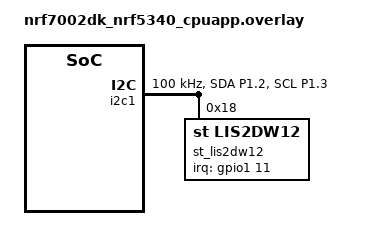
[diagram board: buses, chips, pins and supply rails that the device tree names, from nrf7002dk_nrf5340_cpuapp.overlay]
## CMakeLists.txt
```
#
# Copyright (c) 2020 Nordic Semiconductor
#
# SPDX-License-Identifier: LicenseRef-Nordic-5-Clause
#

cmake_minimum_required(VERSION 3.20.0)

find_package(Zephyr REQUIRED HINTS $ENV{ZEPHYR_BASE})
project(clings)

target_sources(app PRIVATE 
    src/main.c
    )
target_include_directories(app PRIVATE include)
```

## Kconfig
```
# ST Microelectronics LIS2DTW12 3-axis accelerometer driver

# Copyright (c) 2019 STMicroelectronics
# SPDX-License-Identifier: Apache-2.0
menu "Zephyr"
source "Kconfig.zephyr"
endmenu

module = MAIN
module-str = main
source "subsys/logging/Kconfig.template.log_config"

menuconfig LIS2DTW12
	bool "LIS2DTW12 I2C/SPI accelerometer sensor driver"
	depends on I2C || SPI
	select HAS_STMEMSC
	select USE_STDC_LIS2DTW12
	help
	  Enable driver for LIS2DTW12 accelerometer sensor driver

if LIS2DTW12

choice LIS2DTW12_TRIGGER_MODE
	prompt "Trigger mode"
	help
	  Specify the type of triggering to be used by the driver.

config LIS2DTW12_TRIGGER_NONE
	bool "No trigger"

config LIS2DTW12_TRIGGER_GLOBAL_THREAD
	bool "Use global thread"
	depends on GPIO
	select LIS2DTW12_TRIGGER

config LIS2DTW12_TRIGGER_OWN_THREAD
	bool "Use own thread"
	depends on GPIO
	select LIS2DTW12_TRIGGER

endchoice

config LIS2DTW12_TRIGGER
	bool

if LIS2DTW12_TRIGGER

config LIS2DTW12_THREAD_PRIORITY
	int "Thread priority"
	depends on LIS2DTW12_TRIGGER_OWN_THREAD
	default 10
	help
	  Priority of thread used by the driver to handle interrupts.

config LIS2DTW12_THREAD_STACK_SIZE
	int "Thread stack size"
	depends on LIS2DTW12_TRIGGER_OWN_THREAD
	default 1024
	help
	  Stack size of thread used by the driver to handle interrupts.

choice
	prompt "Sensor INT pin number"
	default LIS2DTW12_INT_PIN_1
	help
	  The number of LIS2DTW12 int pin used to generate interrupt to cpu.
	  Supported values are int1 or int2

config LIS2DTW12_INT_PIN_1
	bool "int1"

config LIS2DTW12_INT_PIN_2
	bool "int2"
endchoice

menuconfig LIS2DTW12_PULSE
	bool "Pulse detection"
	help
	  Enable pulse (single/double tap) detection

if LIS2DTW12_PULSE

choice
	prompt "Pulse interrupt source"
	default LIS2DTW12_ONLY_SINGLE

config LIS2DTW12_ONLY_SINGLE
	bool "single"

config LIS2DTW12_SINGLE_DOUBLE
	bool "single/double"

endchoice

config LIS2DTW12_PULSE_THSX
	hex "Pulse X-axis threshold"
	range 0 0x1F
	default 0x0E
	help
	  Threshold to start the pulse-event detection procedure on the X-axis.
	  Threshold values for each axis are unsigned 5-bit corresponding
	  to an 2g acceleration full-scale range.

config LIS2DTW12_PULSE_THSY
	hex "Pulse Y-axis threshold"
	range 0 0x1F
	default 0x0E
	help
	  Threshold to start the pulse-event detection procedure on the Y-axis.
	  Threshold values for each axis are unsigned 5-bit corresponding
	  to an 2g acceleration full-scale range.

config LIS2DTW12_PULSE_THSZ
	hex "Pulse Z-axis threshold"
	range 0 0x1F
	default 0x0E
	help
	  Threshold to start the pulse-event detection procedure on the Z-axis.
	  Threshold values for each axis are unsigned 5-bit corresponding
	  to an 2g acceleration full-scale range.

config LIS2DTW12_PULSE_X
	bool "Enable X axis for pulse"
	default y

config LIS2DTW12_PULSE_Y
	bool "Enable Y axis for pulse"
	default y

config LIS2DTW12_PULSE_Z
	bool "Enable Z axis for pulse"
	default y

config LIS2DTW12_PULSE_SHOCK
	hex "Shock value"
	range 0 0x03
	default 0x00
	help
	  Maximum duration of over-threshold event: this register represents
	  the maximum time of an over-threshold signal detection to be
	  recognized as a tap event. Where 0 equals 4*1/ODR and 1LSB = 8*1/ODR.

config LIS2DTW12_PULSE_LTNCY
	hex "Latency value"
	range 0 0x0F
	default 0x05
	help
	  When double-tap recognition is enabled, this register expresses
	  the maximum time between two successive detected taps to
	  determine a double-tap event. Where 0 equals 16*1/ODR and
	  1LSB = 32*1/ODR.

config LIS2DTW12_PULSE_QUIET
	hex "Quiet value"
	range 0 0x03
	default 0x00
	help
	  Expected quiet time after a tap detection: this register represents
	  the time after the first detected tap in which there must not be
	  any overthreshold event. Where 0 equals 2*1/ODR and 1LSB = 4*1/ODR.

endif # LIS2DTW12_PULSE

endif # LIS2DTW12_TRIGGER

choice
	prompt "Accelerometer Full-scale range setting"
	default LIS2DTW12_ACCEL_RANGE_RUNTIME

config LIS2DTW12_ACCEL_RANGE_RUNTIME
	bool "Set at runtime (Default 2G)"

config LIS2DTW12_ACCEL_RANGE_2G
	bool "2G"

config LIS2DTW12_ACCEL_RANGE_4G
	bool "4G"

config LIS2DTW12_ACCEL_RANGE_8G
	bool "8G"

config LIS2DTW12_ACCEL_RANGE_16G
	bool "16G"
endchoice

choice
	prompt "Accelerometer sampling frequency (ODR)"
	default LIS2DTW12_ODR_RUNTIME

config LIS2DTW12_ODR_RUNTIME
	bool "Set at runtime (Default 100 Hz)"

config LIS2DTW12_ODR_1_6
	bool "1.6 Hz"

config LIS2DTW12_ODR_12_5
	bool "12.5 Hz"

config LIS2DTW12_ODR_25
	bool "25 Hz"

config LIS2DTW12_ODR_50
	bool "50 Hz"

config LIS2DTW12_ODR_100
	bool "100 Hz"

config LIS2DTW12_ODR_200
	bool "200 Hz"

config LIS2DTW12_ODR_400
	bool "400 Hz"

config LIS2DTW12_ODR_800
	bool "800 Hz"

config LIS2DTW12_ODR_1600
	bool "1600 Hz"

endchoice

config LIS2DTW12_POWER_MODE
	int "Sensor Power Modes"
	range 0 4
	default 0
	help
	  Specify the sensor power mode
	  0: Low Power M1
	  1: Low Power M2
	  2: Low Power M3
	  3: Low Power M4
	  4: High Performance

endif # LIS2DTW12
```

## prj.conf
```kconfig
#
# Copyright (c) 2020 Nordic Semiconductor ASA
#
# SPDX-License-Identifier: LicenseRef-Nordic-5-Clause
#
CONFIG_LOG=y
CONFIG_I2C=y
CONFIG_SENSOR=y
CONFIG_LIS2DW12=y
CONFIG_LIS2DW12_TRIGGER_GLOBAL_THREAD=y
CONFIG_CBPRINTF_FP_SUPPORT=y
```

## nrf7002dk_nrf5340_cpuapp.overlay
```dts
// To get started, press Ctrl+Space to bring up the completion menu and view the available nodes.

// You can also use the buttons in the sidebar to perform actions on nodes.
// Actions currently available include:

// * Enabling / disabling the node
// * Adding the bus to a bus
// * Removing the node
// * Connecting ADC channels

// For more help, browse the DeviceTree documentation at https://docs.zephyrproject.org/latest/guides/dts/index.html
// You can also visit the nRF DeviceTree extension documentation at https://nrfconnect.github.io/vscode-nrf-connect/devicetree/nrfdevicetree.html

&pinctrl {
	i2c1_default: i2c1_default {
		group1 {
			psels = <NRF_PSEL(TWIM_SDA, 1, 2)>,
				<NRF_PSEL(TWIM_SCL, 1, 3)>;
			bias-pull-up;
		};
	};

	i2c1_sleep: i2c1_sleep {
		group1 {
			psels = <NRF_PSEL(TWIM_SDA, 1, 2)>,
				<NRF_PSEL(TWIM_SCL, 1, 3)>;
			low-power-enable;
		};
	};
};

&i2c1 {
	compatible = "nordic,nrf-twim";
	status = "okay";
	pinctrl-0 = <&i2c1_default>;
	pinctrl-1 = <&i2c1_sleep>;
	pinctrl-names = "default", "sleep";
	clock-frequency = <100000>;
	st_lis2dw12: lis2dw12@18 {
		compatible = "st,lis2dw12";
		reg = <0x18>;
		irq-gpios = <&gpio1 11 0>;
		odr = < 12 >;
	};
};
```

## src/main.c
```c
/*
 * Copyright (c) 2020 Nordic Semiconductor ASA
 *
 * SPDX-License-Identifier: LicenseRef-Nordic-5-Clause
 */

#include <zephyr/kernel.h>
#include <zephyr/device.h>
#include <zephyr/devicetree.h>
#include <zephyr/init.h>
#include <zephyr/drivers/i2c.h>
#include <zephyr/logging/log.h>
#include <zephyr/drivers/sensor.h>

#define SLEEP_TIME_MS   1000

/* Positions */
#define LIS2DW12_6D_PORT_RIGHT		0x08
#define LIS2DW12_6D_PORT_LEFT		0x04
#define LIS2DW12_6D_FACE_UP			0x02
#define LIS2DW12_6D_FACE_DOWN		0x01
#define LIS2DW12_6D_STANDING		0x20
#define LIS2DW12_6D_UPSIDE_DOWN		0x10

LOG_MODULE_REGISTER(Main, CONFIG_SENSOR_LOG_LEVEL);

static void fetch_and_display(const struct device *sensor)
{
	struct sensor_value temperature;
	int rc = sensor_sample_fetch(sensor); // Dummy read to trigger a sample

	if (rc == 0) {
		rc = sensor_channel_get(sensor, SENSOR_CHAN_AMBIENT_TEMP, &temperature);
		if (rc < 0) {
			LOG_ERR("ERROR: Unable to read temperature:%d", rc);
		} else {
			LOG_INF("%.02f C", sensor_value_to_double(&temperature));
		}
	}	
}

static void trigger_handler(const struct device *dev,
			    const struct sensor_trigger *trig)
{
	struct sensor_value orientation;
	int rc = sensor_sample_fetch(dev);

	if(rc == 0) {
		rc = sensor_channel_get(dev, SENSOR_CHAN_ROTATION, &orientation);
		if (rc < 0) {
			LOG_ERR("ERROR: Unable to read orientation:%d", rc);
		} else {
			uint16_t rotation = sensor_value_to_double(&orientation);

			switch(rotation) {
				case LIS2DW12_6D_PORT_RIGHT:
					LOG_INF("Portrait right");
					break;
				case LIS2DW12_6D_PORT_LEFT:
					LOG_INF("Portrait left");
					break;
				case LIS2DW12_6D_FACE_UP:
					LOG_INF("Standing");
					break;
				case LIS2DW12_6D_FACE_DOWN:
					LOG_INF("Upside down");
					break;
				case LIS2DW12_6D_STANDING:
					LOG_INF("Face down");
					break;
				case LIS2DW12_6D_UPSIDE_DOWN:
					LOG_INF("Face up");
					break;
				default:
					LOG_INF("Unknown - rotation: %d", rotation);
					break;
			}
		}
	}
}

int main(void)
{
	const struct device *const sensor = DEVICE_DT_GET_ANY(st_lis2dw12);
	static struct sensor_trigger sensor_trig;

	if (sensor == NULL) {
		LOG_ERR("No device found");
		return 0;
	}
	if (!device_is_ready(sensor)) {
		LOG_ERR("Device %s is not ready", sensor->name);
		return 0;
	}

#ifdef CONFIG_LIS2DW12_TRIGGER
	int rc = 0;

	if (rc == 0) {
		sensor_trig.type = SENSOR_TRIG_DATA_READY;
		sensor_trig.chan = SENSOR_CHAN_AMBIENT_TEMP;
		rc = sensor_trigger_set(sensor, &sensor_trig, trigger_handler);
	}

	if (rc != 0) {
		LOG_ERR("Trigger set failed: %d", rc);
		return 0;
	}
	LOG_INF("Trigger set got %d", rc);
#endif

	while (true) {
		fetch_and_display(sensor);
		k_msleep(SLEEP_TIME_MS);
	}
}
```

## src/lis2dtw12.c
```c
/* ST Microelectronics LIS2DTW12 3-axis accelerometer driver
 *
 * Copyright (c) 2019 STMicroelectronics
 *
 * SPDX-License-Identifier: Apache-2.0
 *
 * Datasheet:
 * https://www.st.com/resource/en/datasheet/lis2dtw12.pdf
 */

#define DT_DRV_COMPAT st_lis2dtw12
#define I2C_INSTANCE_ID DT_INST(0, DT_DRV_COMPAT)

#include <zephyr/init.h>
#include <zephyr/sys/__assert.h>
#include <zephyr/sys/byteorder.h>
#include <zephyr/logging/log.h>
#include <zephyr/drivers/sensor.h>
#include <zephyr/device.h>
#include <zephyr/devicetree.h>

#if CONFIG_SPI
#include <zephyr/drivers/spi.h>
#elif CONFIG_I2C
#include <zephyr/drivers/i2c.h>
#endif

#include "lis2dtw12.h"

LOG_MODULE_REGISTER(LIS2DTW12, CONFIG_SENSOR_LOG_LEVEL);

/**
 * lis2dtw12_set_range - set full scale range for acc
 * @dev: Pointer to instance of struct device (I2C or SPI)
 * @range: Full scale range (2, 4, 8 and 16 G)
 */
static int lis2dtw12_set_range(const struct device *dev, uint16_t range)
{
	int err;
	struct lis2dtw12_data *lis2dtw12 = dev->data;
	const struct lis2dtw12_device_config *cfg = dev->config;
	uint8_t shift_gain = 0U;
	uint8_t fs = LIS2DTW12_FS_TO_REG(range);

	err = lis2dtw12_full_scale_set(lis2dtw12->ctx, fs);

	if (cfg->pm == LIS2DTW12_CONT_LOW_PWR_12bit) {
		shift_gain = LIS2DTW12_SHFT_GAIN_NOLP1;
	}

	if (!err) {
		/* save internally gain for optimization */
		lis2dtw12->gain =
			LIS2DTW12_FS_TO_GAIN(LIS2DTW12_FS_TO_REG(range),
					    shift_gain);
		LOG_INF("fs %d gain %d", fs, lis2dtw12->gain);
	}

	return err;
}

/**
 * lis2dtw12_set_odr - set new sampling frequency
 * @dev: Pointer to instance of struct device (I2C or SPI)
 * @odr: Output data rate
 */
static int lis2dtw12_set_odr(const struct device *dev, uint16_t odr)
{
	struct lis2dtw12_data *lis2dtw12 = dev->data;
	uint8_t val;

	/* check if power off */
	if (odr == 0U) {
		return lis2dtw12_data_rate_set(lis2dtw12->ctx,
					      LIS2DTW12_XL_ODR_OFF);
	}

	val =  LIS2DTW12_ODR_TO_REG(odr);
	if (val > LIS2DTW12_XL_ODR_1k6Hz) {
		LOG_ERR("ODR too high");
		return -ENOTSUP;
	}

	return lis2dtw12_data_rate_set(lis2dtw12->ctx, val);
}

static inline void lis2dtw12_convert(struct sensor_value *val, int raw_val,
				    float gain)
{
	int64_t dval;

	/* Gain is in ug/LSB */
	/* Convert to m/s^2 */
	dval = ((int64_t)raw_val * gain * SENSOR_G) / 1000000LL;
	val->val1 = dval / 1000000LL;
	val->val2 = dval % 1000000LL;
}

static inline void lis2dtw12_channel_get_acc(const struct device *dev,
					     enum sensor_channel chan,
					     struct sensor_value *val)
{
	int i;
	uint8_t ofs_start, ofs_stop;
	struct lis2dtw12_data *lis2dtw12 = dev->data;
	struct sensor_value *pval = val;

	switch (chan) {
	case SENSOR_CHAN_ACCEL_X:
		ofs_start = ofs_stop = 0U;
		break;
	case SENSOR_CHAN_ACCEL_Y:
		ofs_start = ofs_stop = 1U;
		break;
	case SENSOR_CHAN_ACCEL_Z:
		ofs_start = ofs_stop = 2U;
		break;
	default:
		ofs_start = 0U; ofs_stop = 2U;
		break;
	}

	for (i = ofs_start; i <= ofs_stop ; i++) {
		lis2dtw12_convert(pval++, lis2dtw12->acc[i], lis2dtw12->gain);
	}
}

static inline void lis2dtw12_channel_get_temp(const struct device *dev, struct sensor_value *val)
{
	struct lis2dtw12_data *lis2dtw12 = dev->data;
	float temperature = lis2dtw12_from_lsb_to_celsius(lis2dtw12->temp);
	val->val1 = temperature;
	val->val2 = (temperature - val->val1) * 1000000;
}

static int lis2dtw12_channel_get(const struct device *dev,
				 enum sensor_channel chan,
				 struct sensor_value *val)
{
	switch (chan) {
	case SENSOR_CHAN_ACCEL_X:
	case SENSOR_CHAN_ACCEL_Y:
	case SENSOR_CHAN_ACCEL_Z:
	case SENSOR_CHAN_ACCEL_XYZ:
		lis2dtw12_channel_get_acc(dev, chan, val);
		return 0;
	case SENSOR_CHAN_AMBIENT_TEMP:
		lis2dtw12_channel_get_temp(dev, val);
		return 0;
	default:
		LOG_DBG("Channel not supported");
		break;
	}

	return -ENOTSUP;
}

static int lis2dtw12_config(const struct device *dev, enum sensor_channel chan,
			    enum sensor_attribute attr,
			    const struct sensor_value *val)
{
	switch (attr) {
	case SENSOR_ATTR_FULL_SCALE:
		return lis2dtw12_set_range(dev, sensor_ms2_to_g(val));
	case SENSOR_ATTR_SAMPLING_FREQUENCY:
		return lis2dtw12_set_odr(dev, val->val1);
	default:
		LOG_DBG("Acc attribute not supported");
		break;
	}

	return -ENOTSUP;
}

static int lis2dtw12_attr_set(const struct device *dev,
			      enum sensor_channel chan,
			      enum sensor_attribute attr,
			      const struct sensor_value *val)
{
	switch (chan) {
	case SENSOR_CHAN_ACCEL_X:
	case SENSOR_CHAN_ACCEL_Y:
	case SENSOR_CHAN_ACCEL_Z:
	case SENSOR_CHAN_ACCEL_XYZ:
		return lis2dtw12_config(dev, chan, attr, val);
	default:
		LOG_DBG("Attr not supported on %d channel", chan);
		break;
	}

	return -ENOTSUP;
}

static int lis2dtw12_sample_fetch(const struct device *dev,
				 enum sensor_channel chan)
{
	struct lis2dtw12_data *lis2dtw12 = dev->data;
	const struct lis2dtw12_device_config *cfg = dev->config;
	uint8_t shift;
	int16_t buf[3];

	//uint8_t reg;
	//lis2dtw12_flag_data_ready_get(lis2dtw12->ctx, &reg);
	//if (reg) {
		/* fetch raw data sample */
		if (lis2dtw12_acceleration_raw_get(lis2dtw12->ctx, buf) < 0) {
			LOG_DBG("Failed to fetch raw acc sample");
			return -EIO;
		}

		/* adjust to resolution */
		if (cfg->pm == LIS2DTW12_CONT_LOW_PWR_12bit) {
			shift = LIS2DTW12_SHIFT_PM1;
		} else {
			shift = LIS2DTW12_SHIFT_PMOTHER;
		}

		lis2dtw12->acc[0] = sys_le16_to_cpu(buf[0]) >> shift;
		lis2dtw12->acc[1] = sys_le16_to_cpu(buf[1]) >> shift;
		lis2dtw12->acc[2] = sys_le16_to_cpu(buf[2]) >> shift;

		int16_t temp;
		if (lis2dtw12_temperature_raw_get(lis2dtw12->ctx, &temp) < 0) {
			return -EIO;
		}
		lis2dtw12->temp = temp;
	//}

	return 0;
}

static const struct sensor_driver_api lis2dtw12_driver_api = {
	.attr_set = lis2dtw12_attr_set,
#if CONFIG_LIS2DTW12_TRIGGER
	.trigger_set = lis2dtw12_trigger_set,
#endif /* CONFIG_LIS2DTW12_TRIGGER */
	.sample_fetch = lis2dtw12_sample_fetch,
	.channel_get = lis2dtw12_channel_get,
};

static int lis2dtw12_init_interface(const struct device *dev)
{
	struct lis2dtw12_data *lis2dtw12 = dev->data;
	const struct lis2dtw12_device_config *cfg = dev->config;

	lis2dtw12->bus = device_get_binding(cfg->bus->name);
	if (!lis2dtw12->bus) {
		LOG_DBG("master bus not found: %s", cfg->bus->name);
		return -EINVAL;
	}

#if CONFIG_SPI
	lis2dtw12_spi_init(dev);
#elif CONFIG_I2C
	lis2dtw12_i2c_init(dev);
#else
#error "BUS MACRO NOT DEFINED IN DTS"
#endif

	return 0;
}

static int lis2dtw12_set_power_mode(struct lis2dtw12_data *lis2dtw12,
				    lis2dtw12_mode_t pm)
{
	uint8_t regval = LIS2DTW12_CONT_LOW_PWR_12bit;

	switch (pm) {
	case LIS2DTW12_CONT_LOW_PWR_2:
	case LIS2DTW12_CONT_LOW_PWR_3:
	case LIS2DTW12_CONT_LOW_PWR_4:
	case LIS2DTW12_HIGH_PERFORMANCE:
		regval = pm;
		break;
	default:
		LOG_DBG("Apply default Power Mode");
		break;
	}

	return lis2dtw12_write_reg(lis2dtw12->ctx, LIS2DTW12_CTRL1, &regval, 1);
}

int lis2dtw12_init(const struct device *dev)
{
	struct lis2dtw12_data *lis2dtw12 = dev->data;
	const struct lis2dtw12_device_config *cfg = dev->config;
	uint8_t wai;

	if (lis2dtw12_init_interface(dev)) {
		return -EINVAL;
	}

	/* check chip ID */
	if (lis2dtw12_device_id_get(lis2dtw12->ctx, &wai) < 0) {
		return -EIO;
	}

	if (wai != LIS2DTW12_ID) {
		LOG_ERR("Invalid chip ID");
		return -EINVAL;
	}

	/* reset device */
	if (lis2dtw12_reset_set(lis2dtw12->ctx, PROPERTY_ENABLE) < 0) {
		return -EIO;
	}

	k_busy_wait(100);

	if (lis2dtw12_block_data_update_set(lis2dtw12->ctx,
					   PROPERTY_ENABLE) < 0) {
		return -EIO;
	}

	/* set power mode */
	if (lis2dtw12_set_power_mode(lis2dtw12, CONFIG_LIS2DTW12_POWER_MODE)) {
		return -EIO;
	}

	/* set default odr and full scale for acc */
	if (lis2dtw12_data_rate_set(lis2dtw12->ctx, LIS2DTW12_DEFAULT_ODR) < 0) {
		return -EIO;
	}

	if (lis2dtw12_full_scale_set(lis2dtw12->ctx, LIS2DTW12_ACC_FS) < 0) {
		return -EIO;
	}

	lis2dtw12->gain =
		LIS2DTW12_FS_TO_GAIN(LIS2DTW12_ACC_FS,
				    cfg->pm == LIS2DTW12_CONT_LOW_PWR_12bit ?
				    LIS2DTW12_SHFT_GAIN_NOLP1 : 0);

#ifdef CONFIG_LIS2DTW12_TRIGGER
	if (lis2dtw12_init_interrupt(dev) < 0) {
		LOG_ERR("Failed to initialize interrupts");
		return -EIO;
	}

#ifdef CONFIG_LIS2DTW12_PULSE
	if (lis2dtw12_tap_mode_set(lis2dtw12->ctx, cfg->pulse_trigger) < 0) {
		LOG_ERR("Failed to select pulse trigger mode");
		return -EIO;
	}

	if (lis2dtw12_tap_threshold_x_set(lis2dtw12->ctx,
					 cfg->pulse_ths[0]) < 0) {
		LOG_ERR("Failed to set tap X axis threshold");
		return -EIO;
	}

	if (lis2dtw12_tap_threshold_y_set(lis2dtw12->ctx,
					 cfg->pulse_ths[1]) < 0) {
		LOG_ERR("Failed to set tap Y axis threshold");
		return -EIO;
	}

	if (lis2dtw12_tap_threshold_z_set(lis2dtw12->ctx,
					 cfg->pulse_ths[2]) < 0) {
		LOG_ERR("Failed to set tap Z axis threshold");
		return -EIO;
	}

	if (lis2dtw12_tap_detection_on_x_set(lis2dtw12->ctx,
					    CONFIG_LIS2DTW12_PULSE_X) < 0) {
		LOG_ERR("Failed to set tap detection on X axis");
		return -EIO;
	}

	if (lis2dtw12_tap_detection_on_y_set(lis2dtw12->ctx,
					    CONFIG_LIS2DTW12_PULSE_Y) < 0) {
		LOG_ERR("Failed to set tap detection on Y axis");
		return -EIO;
	}

	if (lis2dtw12_tap_detection_on_z_set(lis2dtw12->ctx,
					    CONFIG_LIS2DTW12_PULSE_Z) < 0) {
		LOG_ERR("Failed to set tap detection on Z axis");
		return -EIO;
	}

	if (lis2dtw12_tap_shock_set(lis2dtw12->ctx, cfg->pulse_shock) < 0) {
		LOG_ERR("Failed to set tap shock duration");
		return -EIO;
	}

	if (lis2dtw12_tap_dur_set(lis2dtw12->ctx, cfg->pulse_ltncy) < 0) {
		LOG_ERR("Failed to set tap latency");
		return -EIO;
	}

	if (lis2dtw12_tap_quiet_set(lis2dtw12->ctx, cfg->pulse_quiet) < 0) {
		LOG_ERR("Failed to set tap quiet time");
		return -EIO;
	}
#endif /* CONFIG_LIS2DTW12_PULSE */
#endif /* CONFIG_LIS2DTW12_TRIGGER */

	return 0;
}

const struct lis2dtw12_device_config lis2dtw12_cfg = {
	.bus = DEVICE_DT_GET(I2C1_NODE),
	.pm = CONFIG_LIS2DTW12_POWER_MODE,
#ifdef CONFIG_LIS2DTW12_TRIGGER
	.int_gpio_port = DT_INST_GPIO_LABEL(0, irq_gpios),
	.int_gpio_pin = DT_INST_GPIO_PIN(0, irq_gpios),
	.int_gpio_flags = DT_INST_GPIO_FLAGS(0, irq_gpios),
#if defined(CONFIG_LIS2DTW12_INT_PIN_1)
	.int_pin = 1,
#elif defined(CONFIG_LIS2DTW12_INT_PIN_2)
	.int_pin = 2,
#endif /* CONFIG_LIS2DTW12_INT_PIN */

#ifdef CONFIG_LIS2DTW12_PULSE
#if defined(CONFIG_LIS2DTW12_ONLY_SINGLE)
	.pulse_trigger = LIS2DTW12_ONLY_SINGLE,
#elif defined(CONFIG_LIS2DTW12_SINGLE_DOUBLE)
	.pulse_trigger = LIS2DTW12_BOTH_SINGLE_DOUBLE,
#endif
	.pulse_ths[0] = CONFIG_LIS2DTW12_PULSE_THSX,
	.pulse_ths[1] = CONFIG_LIS2DTW12_PULSE_THSY,
	.pulse_ths[2] = CONFIG_LIS2DTW12_PULSE_THSZ,
	.pulse_shock = CONFIG_LIS2DTW12_PULSE_SHOCK,
	.pulse_ltncy = CONFIG_LIS2DTW12_PULSE_LTNCY,
	.pulse_quiet = CONFIG_LIS2DTW12_PULSE_QUIET,
#endif /* CONFIG_LIS2DTW12_PULSE */
#endif /* CONFIG_LIS2DTW12_TRIGGER */
};

struct lis2dtw12_data lis2dtw12_data;

DEVICE_DT_DEFINE(I2C1_NODE, lis2dtw12_init, device_pm_control_nop,
	     &lis2dtw12_data, &lis2dtw12_cfg, POST_KERNEL,
	     CONFIG_SENSOR_INIT_PRIORITY, &lis2dtw12_driver_api);
```

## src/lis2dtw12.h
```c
/* ST Microelectronics LIS2DTW12 3-axis accelerometer driver
 *
 * Copyright (c) 2019 STMicroelectronics
 *
 * SPDX-License-Identifier: Apache-2.0
 *
 * Datasheet:
 * https://www.st.com/resource/en/datasheet/lis2dtw12.pdf
 */

#ifndef ZEPHYR_DRIVERS_SENSOR_LIS2DTW12_LIS2DTW12_H_
#define ZEPHYR_DRIVERS_SENSOR_LIS2DTW12_LIS2DTW12_H_

#if CONFIG_SPI
#include <zephyr/drivers/spi.h>
#elif CONFIG_I2C
#include <zephyr/drivers/i2c.h>
#endif
#include <zephyr/drivers/gpio.h>
#include <zephyr/sys/util.h>
#include <zephyr/drivers/sensor.h>
#include "lis2dtw12_reg.h"

#define LIS2DTW12_SLAVE_ADDRESS 0x18
#define I2C1_NODE DT_NODELABEL(st_lis2dtw12)
static const struct i2c_dt_spec dev_i2c = I2C_DT_SPEC_GET(I2C1_NODE);

union axis3bit16_t {
	int16_t i16bit[3];
	uint8_t u8bit[6];
};

#if defined(CONFIG_LIS2DTW12_ODR_1_6)
	#define LIS2DTW12_DEFAULT_ODR	LIS2DTW12_XL_ODR_1Hz6_LP_ONLY
#elif defined(CONFIG_LIS2DTW12_ODR_12_5)
	#define LIS2DTW12_DEFAULT_ODR	LIS2DTW12_XL_ODR_12Hz5
#elif defined(CONFIG_LIS2DTW12_ODR_25)
	#define LIS2DTW12_DEFAULT_ODR	LIS2DTW12_XL_ODR_25Hz
#elif defined(CONFIG_LIS2DTW12_ODR_50)
	#define LIS2DTW12_DEFAULT_ODR	LIS2DTW12_XL_ODR_50Hz
#elif defined(CONFIG_LIS2DTW12_ODR_100) || \
	defined(CONFIG_LIS2DTW12_ODR_RUNTIME)
	#define LIS2DTW12_DEFAULT_ODR	LIS2DTW12_XL_ODR_100Hz
#elif defined(CONFIG_LIS2DTW12_ODR_200)
	#define LIS2DTW12_DEFAULT_ODR	LIS2DTW12_XL_ODR_200Hz
#elif defined(CONFIG_LIS2DTW12_ODR_400)
	#define LIS2DTW12_DEFAULT_ODR	LIS2DTW12_XL_ODR_400Hz
#elif defined(CONFIG_LIS2DTW12_ODR_800)
	#define LIS2DTW12_DEFAULT_ODR	LIS2DTW12_XL_ODR_800Hz
#elif defined(CONFIG_LIS2DTW12_ODR_1600)
	#define LIS2DTW12_DEFAULT_ODR	LIS2DTW12_XL_ODR_1k6Hz
#endif

/* Return ODR reg value based on data rate set */
#define LIS2DTW12_ODR_TO_REG(_odr) \
	((_odr <= 1) ? LIS2DTW12_XL_ODR_1Hz6_LP_ONLY : \
	 (_odr <= 12) ? LIS2DTW12_XL_ODR_12Hz5 : \
	 ((31 - __builtin_clz(_odr / 25))) + 3)

/* FS reg value from Full Scale */
#define LIS2DTW12_FS_TO_REG(_fs)	(30 - __builtin_clz(_fs))

#if defined(CONFIG_LIS2DTW12_ACCEL_RANGE_RUNTIME) || \
	defined(CONFIG_LIS2DTW12_ACCEL_RANGE_2G)
	#define LIS2DTW12_ACC_FS		LIS2DTW12_2g
#elif defined(CONFIG_LIS2DTW12_ACCEL_RANGE_4G)
	#define LIS2DTW12_ACC_FS		LIS2DTW12_4g
#elif defined(CONFIG_LIS2DTW12_ACCEL_RANGE_8G)
	#define LIS2DTW12_ACC_FS		LIS2DTW12_8g
#elif defined(CONFIG_LIS2DTW12_ACCEL_RANGE_16G)
	#define LIS2DTW12_ACC_FS		LIS2DTW12_16g
#endif

/* Acc Gain value in ug/LSB in High Perf mode */
#define LIS2DTW12_FS_2G_GAIN		244
#define LIS2DTW12_FS_4G_GAIN		488
#define LIS2DTW12_FS_8G_GAIN		976
#define LIS2DTW12_FS_16G_GAIN		1952

#define LIS2DTW12_SHFT_GAIN_NOLP1	2
#define LIS2DTW12_ACCEL_GAIN_DEFAULT_VAL LIS2DTW12_FS_2G_GAIN
#define LIS2DTW12_FS_TO_GAIN(_fs, _lp1) \
		(LIS2DTW12_FS_2G_GAIN << ((_fs) + (_lp1)))

/* shift value for power mode */
#define LIS2DTW12_SHIFT_PM1		4
#define LIS2DTW12_SHIFT_PMOTHER		2

/**
 * struct lis2dtw12_device_config - lis2dtw12 hw configuration
 * @bus_name: Pointer to bus master identifier.
 * @pm: Power mode (lis2dh_powermode).
 * @int_gpio_port: Pointer to GPIO PORT identifier.
 * @int_gpio_pin: GPIO pin number connecter to sensor int pin.
 * @int_pin: Sensor int pin (int1/int2).
 */
struct lis2dtw12_device_config {
	const struct device *bus;
	lis2dtw12_mode_t pm;
#ifdef CONFIG_LIS2DTW12_TRIGGER
	const char *int_gpio_port;
	uint8_t int_gpio_pin;
	uint8_t int_gpio_flags;
	uint8_t int_pin;
#ifdef CONFIG_LIS2DTW12_PULSE
	uint8_t pulse_trigger;
	uint8_t pulse_ths[3];
	uint8_t pulse_shock;
	uint8_t pulse_ltncy;
	uint8_t pulse_quiet;
#endif /* CONFIG_LIS2DTW12_PULSE */
#endif /* CONFIG_LIS2DTW12_TRIGGER */
};

/* sensor data forward declaration (member definition is below) */
struct lis2dtw12_data;

/* sensor data */
struct lis2dtw12_data {
	const struct device *bus;
	int16_t acc[3];
	int16_t temp;

	 /* save sensitivity */
	uint16_t gain;

	stmdev_ctx_t *ctx;
#ifdef CONFIG_LIS2DTW12_TRIGGER
	const struct device *dev;
	const struct device *gpio;
	uint8_t gpio_pin;
	struct gpio_callback gpio_cb;
	sensor_trigger_handler_t drdy_handler;
#ifdef CONFIG_LIS2DTW12_PULSE
	sensor_trigger_handler_t tap_handler;
	sensor_trigger_handler_t double_tap_handler;
#endif /* CONFIG_LIS2DTW12_PULSE */
#if defined(CONFIG_LIS2DTW12_TRIGGER_OWN_THREAD)
	K_KERNEL_STACK_MEMBER(thread_stack, CONFIG_LIS2DTW12_THREAD_STACK_SIZE);
	struct k_thread thread;
	struct k_sem gpio_sem;
#elif defined(CONFIG_LIS2DTW12_TRIGGER_GLOBAL_THREAD)
	struct k_work work;
#endif /* CONFIG_LIS2DTW12_TRIGGER_GLOBAL_THREAD */
#endif /* CONFIG_LIS2DTW12_TRIGGER */
#if DT_INST_SPI_DEV_HAS_CS_GPIOS(0)
	struct spi_cs_control cs_ctrl;
#endif
};

int lis2dtw12_i2c_init(const struct device *dev);
int lis2dtw12_init(const struct device *dev);

#ifdef CONFIG_LIS2DTW12_TRIGGER
int lis2dtw12_init_interrupt(const struct device *dev);
int lis2dtw12_trigger_set(const struct device *dev,
			  const struct sensor_trigger *trig,
			  sensor_trigger_handler_t handler);
#endif /* CONFIG_LIS2DTW12_TRIGGER */

#endif /* ZEPHYR_DRIVERS_SENSOR_LIS2DTW12_LIS2DTW12_H_ */
```

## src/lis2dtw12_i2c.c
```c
/* ST Microelectronics LIS2DTW12 3-axis accelerometer driver
 *
 * Copyright (c) 2019 STMicroelectronics
 *
 * SPDX-License-Identifier: Apache-2.0
 *
 * Datasheet:
 * https://www.st.com/resource/en/datasheet/lis2dtw12.pdf
 */

#define DT_DRV_COMPAT st_lis2dtw12

#include <string.h>
#include <zephyr/drivers/i2c.h>
#include <zephyr/logging/log.h>
#include <zephyr/device.h>
#include <zephyr/devicetree.h>

#include "lis2dtw12.h"

#if CONFIG_I2C

#define HAL_I2C_TX_MAX_LEN (128)

LOG_MODULE_DECLARE(LIS2DTW12, CONFIG_SENSOR_LOG_LEVEL);

int hal_i2c_write(struct lis2dtw12_data *data, uint8_t addr, uint8_t reg, uint8_t *tx_buf, uint8_t tx_len)
	{
	if (!data->bus) {
		LOG_ERR("Device is not ready. Please init");
		return -1;
	}

	if (addr < 3 || addr > 0x77) {
		LOG_ERR("The address MUST be in range [0x04 .. 0x77]");
		return -1;
	}

	if (tx_len + 1 > HAL_I2C_TX_MAX_LEN) {
		LOG_ERR("Transmit len is out of range [0 to 128]");
		return -1;
	}

	uint8_t txbuf[HAL_I2C_TX_MAX_LEN] = {0x00};
	txbuf[0] = reg;
	memcpy(&txbuf[1], tx_buf, tx_len);
	if (i2c_write(data->bus, txbuf, tx_len + 1, addr) != 0) {
		return -1;
	}

	return 0;
}


int hal_i2c_read(struct lis2dtw12_data *data, uint8_t addr, uint8_t reg, uint8_t *rx_buf, uint8_t rx_len)
{
	if (!data->bus) {
	  LOG_ERR("Device is not ready. Please init");
	  return -1;
	}

	if (addr < 3 || addr > 0x77) {
	  LOG_ERR("The address MUST be in range [0x04 .. 0x77]");
	  return -1;
	}

	uint8_t txbuf[1] = {reg};
	if (i2c_write_read(data->bus, addr, txbuf, 1, rx_buf, rx_len) != 0) {
		return -1;
	}
  return 0;
}


// static int lis2dtw12_i2c_read(struct lis2dtw12_data *data, uint8_t reg_addr,
// 				 uint8_t *value, uint16_t len)
// {
// 	return i2c_burst_read(data->bus, LIS2DTW12_SLAVE_ADDRESS,
// 			      reg_addr, value, len);
// }

// static int lis2dtw12_i2c_write(struct lis2dtw12_data *data, uint8_t reg_addr,
// 				  uint8_t *value, uint16_t len)
// {
// 	return i2c_burst_write(data->bus, LIS2DTW12_SLAVE_ADDRESS, reg_addr, value, len);
// }

int32_t sensor_write_func(struct lis2dtw12_data *data, uint8_t reg, uint8_t *value, uint16_t len)
{
  return hal_i2c_write(data, LIS2DTW12_SLAVE_ADDRESS, reg, value, (uint16_t)len);
}

int32_t sensor_read_func(struct lis2dtw12_data *data, uint8_t reg, uint8_t *value, uint16_t len)
{
  return hal_i2c_read(data, LIS2DTW12_SLAVE_ADDRESS, reg, value, (uint16_t)len);
}


stmdev_ctx_t lis2dtw12_i2c_ctx = {
	.read_reg = (stmdev_read_ptr) sensor_read_func,
	.write_reg = (stmdev_write_ptr) sensor_write_func,
};

int lis2dtw12_i2c_init(const struct device *dev)
{
	struct lis2dtw12_data *data = dev->data;

	data->ctx = &lis2dtw12_i2c_ctx;
	data->ctx->handle = data;

	return 0;
}
#endif /* CONFIG_I2C */
```

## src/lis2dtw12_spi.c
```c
/* ST Microelectronics LIS2DTW12 3-axis accelerometer driver
 *
 * Copyright (c) 2019 STMicroelectronics
 *
 * SPDX-License-Identifier: Apache-2.0
 *
 * Datasheet:
 * https://www.st.com/resource/en/datasheet/lis2dtw12.pdf
 */

#define DT_DRV_COMPAT st_lis2dtw12

#include <string.h>
#include "lis2dtw12.h"
#include <zephyr/logging/log.h>

#if CONFIG_SPI

#define LIS2DTW12_SPI_READ		(1 << 7)

LOG_MODULE_DECLARE(LIS2DTW12, CONFIG_SENSOR_LOG_LEVEL);

static struct spi_config lis2dtw12_spi_conf = {
	.frequency = DT_INST_PROP(0, spi_max_frequency),
	.operation = (SPI_OP_MODE_MASTER | SPI_MODE_CPOL |
		      SPI_MODE_CPHA | SPI_WORD_SET(8) | SPI_LINES_SINGLE),
	.slave     = DT_INST_REG_ADDR(0),
	.cs        = NULL,
};

static int lis2dtw12_spi_read(struct lis2dtw12_data *ctx, uint8_t reg,
			    uint8_t *data, uint16_t len)
{
	struct spi_config *spi_cfg = &lis2dtw12_spi_conf;
	uint8_t buffer_tx[2] = { reg | LIS2DTW12_SPI_READ, 0 };
	const struct spi_buf tx_buf = {
			.buf = buffer_tx,
			.len = 2,
	};
	const struct spi_buf_set tx = {
		.buffers = &tx_buf,
		.count = 1
	};
	const struct spi_buf rx_buf[2] = {
		{
			.buf = NULL,
			.len = 1,
		},
		{
			.buf = data,
			.len = len,
		}
	};
	const struct spi_buf_set rx = {
		.buffers = rx_buf,
		.count = 2
	};

	if (spi_transceive(ctx->bus, spi_cfg, &tx, &rx)) {
		return -EIO;
	}

	return 0;
}

static int lis2dtw12_spi_write(struct lis2dtw12_data *ctx, uint8_t reg,
			     uint8_t *data, uint16_t len)
{
	struct spi_config *spi_cfg = &lis2dtw12_spi_conf;
	uint8_t buffer_tx[1] = { reg & ~LIS2DTW12_SPI_READ };
	const struct spi_buf tx_buf[2] = {
		{
			.buf = buffer_tx,
			.len = 1,
		},
		{
			.buf = data,
			.len = len,
		}
	};
	const struct spi_buf_set tx = {
		.buffers = tx_buf,
		.count = 2
	};


	if (spi_write(ctx->bus, spi_cfg, &tx)) {
		return -EIO;
	}

	return 0;
}

stmdev_ctx_t lis2dtw12_spi_ctx = {
	.read_reg = (stmdev_read_ptr) lis2dtw12_spi_read,
	.write_reg = (stmdev_write_ptr) lis2dtw12_spi_write,
};

int lis2dtw12_spi_init(const struct device *dev)
{
	struct lis2dtw12_data *data = dev->data;

	data->ctx = &lis2dtw12_spi_ctx;
	data->ctx->handle = data;

#if DT_INST_SPI_DEV_HAS_CS_GPIOS(0)
	/* handle SPI CS thru GPIO if it is the case */
	data->cs_ctrl.gpio_dev = device_get_binding(
		DT_INST_SPI_DEV_CS_GPIOS_LABEL(0));
	if (!data->cs_ctrl.gpio_dev) {
		LOG_ERR("Unable to get GPIO SPI CS device");
		return -ENODEV;
	}

	data->cs_ctrl.gpio_pin = DT_INST_SPI_DEV_CS_GPIOS_PIN(0);
	data->cs_ctrl.gpio_dt_flags = DT_INST_SPI_DEV_CS_GPIOS_FLAGS(0);
	data->cs_ctrl.delay = 0U;

	lis2dtw12_spi_conf.cs = &data->cs_ctrl;

	LOG_DBG("SPI GPIO CS configured on %s:%u",
		    DT_INST_SPI_DEV_CS_GPIOS_LABEL(0),
		    DT_INST_SPI_DEV_CS_GPIOS_PIN(0));
#endif

	return 0;
}
#endif /* CONFIG_SPI */
```

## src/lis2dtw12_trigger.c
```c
/* ST Microelectronics LIS2DTW12 3-axis accelerometer driver
 *
 * Copyright (c) 2019 STMicroelectronics
 *
 * SPDX-License-Identifier: Apache-2.0
 *
 * Datasheet:
 * https://www.st.com/resource/en/datasheet/lis2dtw12.pdf
 */

#define DT_DRV_COMPAT st_lis2dtw12

#include <zephyr/kernel.h>
#include <zephyr/drivers/sensor.h>
#include <zephyr/drivers/gpio.h>
#include <zephyr/logging/log.h>

#include "lis2dtw12.h"

LOG_MODULE_DECLARE(LIS2DTW12, CONFIG_SENSOR_LOG_LEVEL);

/**
 * lis2dtw12_enable_int - enable selected int pin to generate interrupt
 */
static int lis2dtw12_enable_int(const struct device *dev,
			       enum sensor_trigger_type type, int enable)
{
	const struct lis2dtw12_device_config *cfg = dev->config;
	struct lis2dtw12_data *lis2dtw12 = dev->data;
	lis2dtw12_reg_t int_route;

	if (cfg->int_pin == 1U) {
		/* set interrupt for pin INT1 */
		lis2dtw12_pin_int1_route_get(lis2dtw12->ctx,
				&int_route.ctrl4_int1_pad_ctrl);

		switch (type) {
		case SENSOR_TRIG_DATA_READY:
			int_route.ctrl4_int1_pad_ctrl.int1_drdy = enable;
			break;
#ifdef CONFIG_LIS2DTW12_PULSE
		case SENSOR_TRIG_TAP:
			int_route.ctrl4_int1_pad_ctrl.int1_single_tap = enable;
			break;
		case SENSOR_TRIG_DOUBLE_TAP:
			int_route.ctrl4_int1_pad_ctrl.int1_tap = enable;
			break;
#endif /* CONFIG_LIS2DTW12_PULSE */
		default:
			LOG_ERR("Unsupported trigger interrupt route");
			return -ENOTSUP;
		}

		return lis2dtw12_pin_int1_route_set(lis2dtw12->ctx,
				&int_route.ctrl4_int1_pad_ctrl);
	} else {
		/* set interrupt for pin INT2 */
		lis2dtw12_pin_int2_route_get(lis2dtw12->ctx,
					    &int_route.ctrl5_int2_pad_ctrl);

		switch (type) {
		case SENSOR_TRIG_DATA_READY:
			int_route.ctrl5_int2_pad_ctrl.int2_drdy = enable;
			break;
		default:
			LOG_ERR("Unsupported trigger interrupt route");
			return -ENOTSUP;
		}

		return lis2dtw12_pin_int2_route_set(lis2dtw12->ctx,
				&int_route.ctrl5_int2_pad_ctrl);
	}
}

/**
 * lis2dtw12_trigger_set - link external trigger to event data ready
 */
int lis2dtw12_trigger_set(const struct device *dev,
			  const struct sensor_trigger *trig,
			  sensor_trigger_handler_t handler)
{
	struct lis2dtw12_data *lis2dtw12 = dev->data;
	int16_t raw[3];
	int state = (handler != NULL) ? PROPERTY_ENABLE : PROPERTY_DISABLE;

	switch (trig->type) {
	case SENSOR_TRIG_DATA_READY:
		lis2dtw12->drdy_handler = handler;
		if (state) {
			/* dummy read: re-trigger interrupt */
			lis2dtw12_acceleration_raw_get(lis2dtw12->ctx, raw);
		}
		return lis2dtw12_enable_int(dev, SENSOR_TRIG_DATA_READY, state);
		break;
#ifdef CONFIG_LIS2DTW12_PULSE
	case SENSOR_TRIG_TAP:
		lis2dtw12->tap_handler = handler;
		return lis2dtw12_enable_int(dev, SENSOR_TRIG_TAP, state);
		break;
	case SENSOR_TRIG_DOUBLE_TAP:
		lis2dtw12->double_tap_handler = handler;
		return lis2dtw12_enable_int(dev, SENSOR_TRIG_DOUBLE_TAP, state);
		break;
#endif /* CONFIG_LIS2DTW12_PULSE */
	default:
		LOG_ERR("Unsupported sensor trigger");
		return -ENOTSUP;
	}
}

static int lis2dtw12_handle_drdy_int(const struct device *dev)
{
	struct lis2dtw12_data *data = dev->data;

	struct sensor_trigger drdy_trig = {
		.type = SENSOR_TRIG_DATA_READY,
		.chan = SENSOR_CHAN_ALL,
	};

	if (data->drdy_handler) {
		data->drdy_handler(dev, &drdy_trig);
	}

	return 0;
}

#ifdef CONFIG_LIS2DTW12_PULSE
static int lis2dtw12_handle_single_tap_int(const struct device *dev)
{
	struct lis2dtw12_data *data = dev->data;
	sensor_trigger_handler_t handler = data->tap_handler;

	struct sensor_trigger pulse_trig = {
		.type = SENSOR_TRIG_TAP,
		.chan = SENSOR_CHAN_ALL,
	};

	if (handler) {
		handler(dev, &pulse_trig);
	}

	return 0;
}

static int lis2dtw12_handle_double_tap_int(const struct device *dev)
{
	struct lis2dtw12_data *data = dev->data;
	sensor_trigger_handler_t handler = data->double_tap_handler;

	struct sensor_trigger pulse_trig = {
		.type = SENSOR_TRIG_DOUBLE_TAP,
		.chan = SENSOR_CHAN_ALL,
	};

	if (handler) {
		handler(dev, &pulse_trig);
	}

	return 0;
}
#endif /* CONFIG_LIS2DTW12_PULSE */

/**
 * lis2dtw12_handle_interrupt - handle the drdy event
 * read data and call handler if registered any
 */
static void lis2dtw12_handle_interrupt(const struct device *dev)
{
	struct lis2dtw12_data *lis2dtw12 = dev->data;
	const struct lis2dtw12_device_config *cfg = dev->config;
	lis2dtw12_all_sources_t sources;

	lis2dtw12_all_sources_get(lis2dtw12->ctx, &sources);

	if (sources.status_dup.drdy) {
		lis2dtw12_handle_drdy_int(dev);
	}
#ifdef CONFIG_LIS2DTW12_PULSE
	if (sources.status_dup.single_tap) {
		lis2dtw12_handle_single_tap_int(dev);
	}
	if (sources.status_dup.double_tap) {
		lis2dtw12_handle_double_tap_int(dev);
	}
#endif /* CONFIG_LIS2DTW12_PULSE */

	gpio_pin_interrupt_configure(lis2dtw12->gpio, cfg->int_gpio_pin,
				     GPIO_INT_EDGE_TO_ACTIVE);
}

static void lis2dtw12_gpio_callback(const struct device *dev,
				    struct gpio_callback *cb, uint32_t pins)
{
	struct lis2dtw12_data *lis2dtw12 =
		CONTAINER_OF(cb, struct lis2dtw12_data, gpio_cb);

	if ((pins & BIT(lis2dtw12->gpio_pin)) == 0U) {
		return;
	}

	gpio_pin_interrupt_configure(dev, lis2dtw12->gpio_pin,
				     GPIO_INT_DISABLE);

#if defined(CONFIG_LIS2DTW12_TRIGGER_OWN_THREAD)
	k_sem_give(&lis2dtw12->gpio_sem);
#elif defined(CONFIG_LIS2DTW12_TRIGGER_GLOBAL_THREAD)
	k_work_submit(&lis2dtw12->work);
#endif /* CONFIG_LIS2DTW12_TRIGGER_OWN_THREAD */
}

#ifdef CONFIG_LIS2DTW12_TRIGGER_OWN_THREAD
static void lis2dtw12_thread(struct lis2dtw12_data *lis2dtw12)
{
	while (1) {
		k_sem_take(&lis2dtw12->gpio_sem, K_FOREVER);
		lis2dtw12_handle_interrupt(lis2dtw12->dev);
	}
}
#endif /* CONFIG_LIS2DTW12_TRIGGER_OWN_THREAD */

#ifdef CONFIG_LIS2DTW12_TRIGGER_GLOBAL_THREAD
static void lis2dtw12_work_cb(struct k_work *work)
{
	struct lis2dtw12_data *lis2dtw12 =
		CONTAINER_OF(work, struct lis2dtw12_data, work);

	lis2dtw12_handle_interrupt(lis2dtw12->dev);
}
#endif /* CONFIG_LIS2DTW12_TRIGGER_GLOBAL_THREAD */

int lis2dtw12_init_interrupt(const struct device *dev)
{
	struct lis2dtw12_data *lis2dtw12 = dev->data;
	const struct lis2dtw12_device_config *cfg = dev->config;
	int ret;

	/* setup data ready gpio interrupt (INT1 or INT2) */
	lis2dtw12->gpio = device_get_binding(cfg->int_gpio_port);
	if (lis2dtw12->gpio == NULL) {
		LOG_DBG("Cannot get pointer to %s device",
			    cfg->int_gpio_port);
		return -EINVAL;
	}

	lis2dtw12->dev = dev;

#if defined(CONFIG_LIS2DTW12_TRIGGER_OWN_THREAD)
	k_sem_init(&lis2dtw12->gpio_sem, 0, UINT_MAX);

	k_thread_create(&lis2dtw12->thread, lis2dtw12->thread_stack,
		       CONFIG_LIS2DTW12_THREAD_STACK_SIZE,
		       (k_thread_entry_t)lis2dtw12_thread, lis2dtw12,
		       NULL, NULL, K_PRIO_COOP(CONFIG_LIS2DTW12_THREAD_PRIORITY),
		       0, K_NO_WAIT);
#elif defined(CONFIG_LIS2DTW12_TRIGGER_GLOBAL_THREAD)
	lis2dtw12->work.handler = lis2dtw12_work_cb;
#endif /* CONFIG_LIS2DTW12_TRIGGER_OWN_THREAD */

	lis2dtw12->gpio_pin = cfg->int_gpio_pin;

	ret = gpio_pin_configure(lis2dtw12->gpio, cfg->int_gpio_pin,
				 GPIO_INPUT | cfg->int_gpio_flags);
	if (ret < 0) {
		LOG_DBG("Could not configure gpio");
		return ret;
	}

	gpio_init_callback(&lis2dtw12->gpio_cb,
			   lis2dtw12_gpio_callback,
			   BIT(cfg->int_gpio_pin));

	if (gpio_add_callback(lis2dtw12->gpio, &lis2dtw12->gpio_cb) < 0) {
		LOG_DBG("Could not set gpio callback");
		return -EIO;
	}

	/* enable interrupt on int1/int2 in pulse mode */
	if (lis2dtw12_int_notification_set(lis2dtw12->ctx, LIS2DTW12_INT_PULSED)) {
		return -EIO;
	}

	return gpio_pin_interrupt_configure(lis2dtw12->gpio, cfg->int_gpio_pin,
					    GPIO_INT_EDGE_TO_ACTIVE);
}
```
